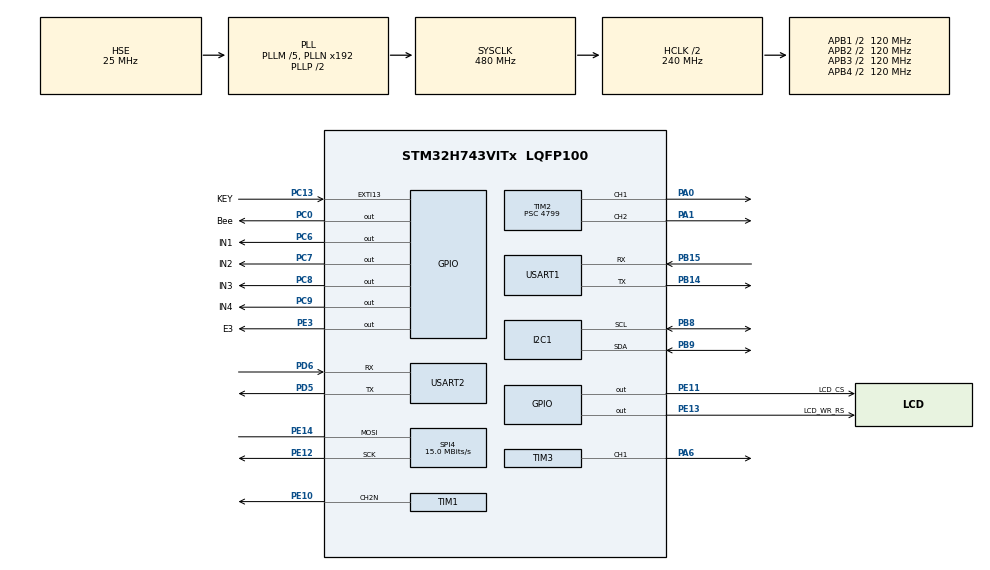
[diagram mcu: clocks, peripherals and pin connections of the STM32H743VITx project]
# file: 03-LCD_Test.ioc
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Dma.Request0=USART1_TX
Dma.Request1=USART1_RX
Dma.USART1_RX.1.Direction=DMA_PERIPH_TO_MEMORY
Dma.USART1_RX.1.EventEnable=DISABLE
Dma.USART1_RX.1.FIFOMode=DMA_FIFOMODE_DISABLE
Dma.USART1_RX.1.Instance=DMA1_Stream1
Dma.USART1_RX.1.MemDataAlignment=DMA_MDATAALIGN_BYTE
Dma.USART1_RX.1.MemInc=DMA_MINC_ENABLE
Dma.USART1_RX.1.Mode=DMA_NORMAL
Dma.USART1_RX.1.PeriphDataAlignment=DMA_PDATAALIGN_BYTE
Dma.USART1_RX.1.PeriphInc=DMA_PINC_DISABLE
Dma.USART1_RX.1.Polarity=HAL_DMAMUX_REQ_GEN_RISING
Dma.USART1_RX.1.Priority=DMA_PRIORITY_LOW
Dma.USART1_RX.1.RequestNumber=1
Dma.USART1_RX.1.SignalID=NONE
Dma.USART1_RX.1.SyncEnable=DISABLE
Dma.USART1_RX.1.SyncPolarity=HAL_DMAMUX_SYNC_NO_EVENT
Dma.USART1_RX.1.SyncRequestNumber=1
Dma.USART1_RX.1.SyncSignalID=NONE
Dma.USART1_TX.0.Direction=DMA_MEMORY_TO_PERIPH
Dma.USART1_TX.0.EventEnable=DISABLE
Dma.USART1_TX.0.FIFOMode=DMA_FIFOMODE_DISABLE
Dma.USART1_TX.0.Instance=DMA1_Stream0
Dma.USART1_TX.0.MemDataAlignment=DMA_MDATAALIGN_BYTE
Dma.USART1_TX.0.MemInc=DMA_MINC_ENABLE
Dma.USART1_TX.0.Mode=DMA_NORMAL
Dma.USART1_TX.0.PeriphDataAlignment=DMA_PDATAALIGN_BYTE
Dma.USART1_TX.0.PeriphInc=DMA_PINC_DISABLE
Dma.USART1_TX.0.Polarity=HAL_DMAMUX_REQ_GEN_RISING
Dma.USART1_TX.0.Priority=DMA_PRIORITY_LOW
Dma.USART1_TX.0.RequestNumber=1
Dma.USART1_TX.0.SignalID=NONE
Dma.USART1_TX.0.SyncEnable=DISABLE
Dma.USART1_TX.0.SyncPolarity=HAL_DMAMUX_SYNC_NO_EVENT
Dma.USART1_TX.0.SyncRequestNumber=1
Dma.USART1_TX.0.SyncSignalID=NONE
I2C1.Timing=0x307075B1
Mcu.Family=STM32H7
Mcu.Name=STM32H743VITx
Mcu.Package=LQFP100
NVIC.DMA1_Stream0_IRQn=true\:0\:0\:false\:false\:true\:false\:true
NVIC.DMA1_Stream1_IRQn=true\:0\:0\:false\:false\:true\:false\:true
NVIC.EXTI15_10_IRQn=true\:0\:0\:false\:false\:true\:true\:true
NVIC.PriorityGroup=NVIC_PRIORITYGROUP_4
NVIC.TIM6_DAC_IRQn=true\:0\:0\:false\:false\:true\:true\:true
NVIC.USART2_IRQn=true\:0\:0\:false\:false\:true\:true\:true
PA0.Signal=S_TIM2_CH1
PA1.Signal=S_TIM2_CH2
PA13\ (JTMS/SWDIO).Mode=Serial_Wire
PA13\ (JTMS/SWDIO).Signal=DEBUG_JTMS-SWDIO
PA14\ (JTCK/SWCLK).Mode=Serial_Wire
PA14\ (JTCK/SWCLK).Signal=DEBUG_JTCK-SWCLK
PA6.Signal=S_TIM3_CH1
PB14.Mode=Asynchronous
PB14.Signal=USART1_TX
PB15.Mode=Asynchronous
PB15.Signal=USART1_RX
PB8.GPIO_Speed=GPIO_SPEED_FREQ_VERY_HIGH
PB8.Mode=I2C
PB8.Signal=I2C1_SCL
PB9.GPIO_Speed=GPIO_SPEED_FREQ_VERY_HIGH
PB9.Mode=I2C
PB9.Signal=I2C1_SDA
PC0.GPIO_Label=Bee
PC0.PinState=GPIO_PIN_SET
PC0.Signal=GPIO_Output
PC13.GPIO_Label=KEY
PC13.GPIO_ModeDefaultEXTI=GPIO_MODE_IT_FALLING
PC13.GPIO_PuPd=GPIO_NOPULL
PC13.Signal=GPXTI13
PC14-OSC32_IN\ (OSC32_IN).Mode=LSE-External-Oscillator
PC14-OSC32_IN\ (OSC32_IN).Signal=RCC_OSC32_IN
PC15-OSC32_OUT\ (OSC32_OUT).Mode=LSE-External-Oscillator
PC15-OSC32_OUT\ (OSC32_OUT).Signal=RCC_OSC32_OUT
PC6.GPIO_Label=IN1
PC6.Signal=GPIO_Output
PC7.GPIO_Label=IN2
PC7.Signal=GPIO_Output
PC8.GPIO_Label=IN3
PC8.Signal=GPIO_Output
PC9.GPIO_Label=IN4
PC9.Signal=GPIO_Output
PD5.Mode=Asynchronous
PD5.Signal=USART2_TX
PD6.Mode=Asynchronous
PD6.Signal=USART2_RX
PE10.Mode=PWM Generation2 CH2N
PE10.Signal=TIM1_CH2N
PE11.GPIO_Label=LCD_CS
PE11.GPIO_Speed=GPIO_SPEED_FREQ_VERY_HIGH
PE11.PinState=GPIO_PIN_SET
PE11.Signal=GPIO_Output
PE12.GPIO_Speed=GPIO_SPEED_FREQ_HIGH
PE12.Mode=Simplex_Bidirectional_Master
PE12.Signal=SPI4_SCK
PE13.GPIO_Label=LCD_WR_RS
PE13.GPIO_Speed=GPIO_SPEED_FREQ_VERY_HIGH
PE13.PinState=GPIO_PIN_SET
PE13.Signal=GPIO_Output
PE14.GPIO_Speed=GPIO_SPEED_FREQ_HIGH
PE14.Mode=Simplex_Bidirectional_Master
PE14.Signal=SPI4_MOSI
PE3.GPIO_Label=E3
PE3.Signal=GPIO_Output
PH0-OSC_IN\ (PH0).Mode=HSE-External-Oscillator
PH0-OSC_IN\ (PH0).Signal=RCC_OSC_IN
PH1-OSC_OUT\ (PH1).Mode=HSE-External-Oscillator
PH1-OSC_OUT\ (PH1).Signal=RCC_OSC_OUT
ProjectManager.HeapSize=0x200
ProjectManager.StackSize=0x400
ProjectManager.TargetToolchain=MDK-ARM V5.27
RCC.ADCFreq_Value=83333333.33333333
RCC.APB1Freq_Value=120000000
RCC.APB2Freq_Value=120000000
RCC.APB3Freq_Value=120000000
RCC.APB4Freq_Value=120000000
RCC.CortexFreq_Value=480000000
RCC.D1PPRE=RCC_APB3_DIV2
RCC.D2PPRE1=RCC_APB1_DIV2
RCC.D2PPRE2=RCC_APB2_DIV2
RCC.D3PPRE=RCC_APB4_DIV2
RCC.DIVM1=5
RCC.DIVM2=6
RCC.DIVN1=192
RCC.DIVN2=40
RCC.DIVQ2=1
RCC.HCLKFreq_Value=240000000
RCC.HPRE=RCC_HCLK_DIV2
RCC.HSE_VALUE=25000000
RCC.PLLFRACN=0
RCC.PLLSourceVirtual=RCC_PLLSOURCE_HSE
RCC.RTCClockSelection=RCC_RTCCLKSOURCE_LSE
RCC.SYSCLKFreq_VALUE=480000000
RCC.SYSCLKSource=RCC_SYSCLKSOURCE_PLLCLK
RCC.USBFreq_Value=480000000
RTC.Hours=12
RTC.Month=RTC_MONTH_JUNE
RTC.Year=20
SH.S_TIM2_CH1.0=TIM2_CH1,PWM Generation1 CH1
SH.S_TIM2_CH2.0=TIM2_CH2,PWM Generation2 CH2
SH.S_TIM3_CH1.0=TIM3_CH1,PWM Generation1 CH1
SPI4.BaudRatePrescaler=SPI_BAUDRATEPRESCALER_8
SPI4.CalculateBaudRate=15.0 MBits/s
SPI4.DataSize=SPI_DATASIZE_8BIT
SPI4.Direction=SPI_DIRECTION_1LINE
SPI4.Mode=SPI_MODE_MASTER
SPI4.VirtualType=VM_MASTER
TIM1.Channel-PWM\ Generation2\ CH2N=TIM_CHANNEL_2
TIM1.OCNPolarity_2=TIM_OCNPOLARITY_LOW
TIM1.Period=1000-1
TIM1.Prescaler=12-1
TIM2.AutoReloadPreload=TIM_AUTORELOAD_PRELOAD_ENABLE
TIM2.Channel-PWM\ Generation1\ CH1=TIM_CHANNEL_1
TIM2.Channel-PWM\ Generation2\ CH2=TIM_CHANNEL_2
TIM2.Period=499
TIM2.Prescaler=4799
TIM3.Channel-PWM\ Generation1\ CH1=TIM_CHANNEL_1
TIM3.Period=249
TIM3.Prescaler=4799
TIM6.Period=10000
TIM6.Prescaler=4799
USART1.VirtualMode-Asynchronous=VM_ASYNC
USART2.VirtualMode-Asynchronous=VM_ASYNC
VP_RTC_VS_RTC_Activate.Mode=RTC_Enabled
VP_RTC_VS_RTC_Calendar.Mode=RTC_Calendar
VP_TIM2_VS_ClockSourceINT.Mode=Internal
VP_TIM3_VS_ClockSourceINT.Mode=Internal
VP_TIM6_VS_ClockSourceINT.Mode=Enable_Timer
board=custom

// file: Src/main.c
/* USER CODE BEGIN Header */
/**
  ******************************************************************************
  * @file           : main.c
  * @brief          : Main program body
  ******************************************************************************
  * @attention
  *
  * <h2><center>&copy; Copyright (c) 2020 STMicroelectronics.
  * All rights reserved.</center></h2>
  *
  * This software component is licensed by ST under BSD 3-Clause license,
  * the "License"; You may not use this file except in compliance with the
  * License. You may obtain a copy of the License at:
  *                        opensource.org/licenses/BSD-3-Clause
  *
  ******************************************************************************
  */
/* USER CODE END Header */
#include "main.h"
#include "dma.h"
#include "i2c.h"
#include "rtc.h"
#include "spi.h"
#include "tim.h"
#include "usart.h"
#include "gpio.h"

/* USER CODE BEGIN Includes */
#include "lcd.h"
#include "mpu6050.h"
#include "control.h"
#include "stdlib.h"
#include "stdio.h"
#include "string.h"
/* USER CODE END Includes */

/* USER CODE BEGIN PTD */

//****串口变量***
extern volatile uint8_t RXbuf[];
volatile  uint8_t TXbuf[200];	//发送缓存
volatile  uint8_t recv_end_flag=0;   //接收完成标记位
volatile uint16_t UART_RX_STA = 0;     // 第15bit表示一帧数据接收完成，第14~0位表示接收到的数据量
volatile uint8_t rx_len=0;    //接收到的数据长度
volatile uint16_t BUFF_SIZE = 200; //接收长度
extern uint8_t usart_num;
//********
int Cama_X =0;	  		// 全局变量，相机X轴
int Cama_Y =0;	  		// 全局变量，相机Y轴
static int Target_X = 300;	// 全局变量，目标X轴
static int Target_Y = 300;	// 全局变量，目标Y轴
static uint8_t Motor = 0;
static uint16_t Xunlu = 1;
uint8_t Mode_Set = 0 ;

static uint8_t Mode = 0;
static uint8_t text[20];

static short Gyro[3];

int ab=0;
static volatile uint8_t aRxBuffer[6];//aTxBuffer[30]; //串口DMA缓存
static uint8_t lcdbuff[20]; //UART字符
static char uart1_buff[20]; //UART字符
extern int Pwm_add1 ,Pwm1 ,Pwm_last1 ;                    // PWM增量，PWM输出占空比
extern int Pwm_add2 ,Pwm2 ,Pwm_last2 ;                    // PWM增量，PWM输出占空比
/* USER CODE END PTD */

void SystemClock_Config(void);

/* USER CODE BEGIN 0 */
static void MPU_Config(void)
{
  MPU_Region_InitTypeDef MPU_InitStruct = {0};

  /* Disables the MPU */
  HAL_MPU_Disable();

	/* Configure the MPU attributes for the QSPI 256MB without instruction access */
  MPU_InitStruct.Enable           = MPU_REGION_ENABLE;
  MPU_InitStruct.Number           = MPU_REGION_NUMBER0;
  MPU_InitStruct.BaseAddress      = QSPI_BASE;
  MPU_InitStruct.Size             = MPU_REGION_SIZE_256MB;
  MPU_InitStruct.AccessPermission = MPU_REGION_NO_ACCESS;
  MPU_InitStruct.IsBufferable     = MPU_ACCESS_NOT_BUFFERABLE;
  MPU_InitStruct.IsCacheable      = MPU_ACCESS_NOT_CACHEABLE;
  MPU_InitStruct.IsShareable      = MPU_ACCESS_NOT_SHAREABLE;
  MPU_InitStruct.DisableExec      = MPU_INSTRUCTION_ACCESS_DISABLE;
  MPU_InitStruct.TypeExtField     = MPU_TEX_LEVEL1;
  MPU_InitStruct.SubRegionDisable = 0x00;
  HAL_MPU_ConfigRegion(&MPU_InitStruct);

  /* Configure the MPU attributes for the QSPI 8MB (QSPI Flash Size) to Cacheable WT */
  MPU_InitStruct.Enable           = MPU_REGION_ENABLE;
  MPU_InitStruct.Number           = MPU_REGION_NUMBER1;
  MPU_InitStruct.BaseAddress      = QSPI_BASE;
  MPU_InitStruct.Size             = MPU_REGION_SIZE_8MB;
  MPU_InitStruct.AccessPermission = MPU_REGION_PRIV_RO;
  MPU_InitStruct.IsBufferable     = MPU_ACCESS_BUFFERABLE;
  MPU_InitStruct.IsCacheable      = MPU_ACCESS_CACHEABLE;
  MPU_InitStruct.IsShareable      = MPU_ACCESS_NOT_SHAREABLE;
  MPU_InitStruct.DisableExec      = MPU_INSTRUCTION_ACCESS_ENABLE;
  MPU_InitStruct.TypeExtField     = MPU_TEX_LEVEL1;
  MPU_InitStruct.SubRegionDisable = 0x00;
  HAL_MPU_ConfigRegion(&MPU_InitStruct);

  /* Enables the MPU */
  HAL_MPU_Enable(MPU_PRIVILEGED_DEFAULT);
}

static void CPU_CACHE_Enable(void)
{
  /* Enable I-Cache */
  SCB_EnableICache();

  /* Enable D-Cache */
  SCB_EnableDCache();
}

static void LED_Blink(uint32_t Hdelay,uint32_t Ldelay)
{
	HAL_GPIO_WritePin(E3_GPIO_Port,E3_Pin,GPIO_PIN_SET);
	HAL_Delay(Hdelay - 1);
	HAL_GPIO_WritePin(E3_GPIO_Port,E3_Pin,GPIO_PIN_RESET);
	HAL_Delay(Ldelay-1);
}

/**
  * @brief  Get the current time and date.
  * @param
  * @retval None
  */
static void RTC_CalendarShow(RTC_DateTypeDef *sdatestructureget,RTC_TimeTypeDef *stimestructureget)
{
  /* 必须同时获取时间和日期 不然会导致下次RTC不能读取 */
  /* Both time and date must be obtained or RTC cannot be read next time */
  /* Get the RTC current Time */
  HAL_RTC_GetTime(&hrtc, stimestructureget, RTC_FORMAT_BIN);
  /* Get the RTC current Date */
  HAL_RTC_GetDate(&hrtc, sdatestructureget, RTC_FORMAT_BIN);
}

/* USER CODE END 0 */

int main(void)
{
  /* USER CODE BEGIN 1 */

  #ifdef W25Qxx
    SCB->VTOR = QSPI_BASE;
  #endif
  MPU_Config();
  CPU_CACHE_Enable();

	MotorOutput1 = 300;
	MotorOutput2 = 300;
	static int i =0;
  /* USER CODE END 1 */

  /* MCU Configuration--------------------------------------------------------*/

  /* Reset of all peripherals, Initializes the Flash interface and the Systick. */
  HAL_Init();

  /* Configure the system clock */
  SystemClock_Config();

  /* Initialize all configured peripherals */
  MX_GPIO_Init();
  MX_DMA_Init();
  MX_RTC_Init();
  MX_SPI4_Init();
  MX_TIM1_Init();
  MX_TIM2_Init();
  MX_TIM6_Init();
  MX_USART2_UART_Init();
  MX_USART1_UART_Init();
  MX_TIM3_Init();
  MX_I2C1_Init();
  /* USER CODE BEGIN 2 */
	LCD_Test();
  	__HAL_UART_CLEAR_IDLEFLAG(&huart2);
	HAL_UART_Receive_IT(&huart2, (uint8_t *)RXbuf, 1);

	sprintf((char *)&text,"TI_Ban");
	LCD_ShowString(4, 6, 160, 14, 14, text);

  /* USER CODE END 2 */

  /* Infinite loop */
  /* USER CODE BEGIN WHILE */
	__HAL_TIM_SetCompare(&htim2,TIM_CHANNEL_1,170);//调试用
	__HAL_TIM_SetCompare(&htim2,TIM_CHANNEL_2,170);//调试用
	__HAL_TIM_SetCompare(&htim3,TIM_CHANNEL_1,75);//调试用
	HAL_TIM_PWM_Start(&htim2,TIM_CHANNEL_1);
	HAL_TIM_PWM_Start(&htim2,TIM_CHANNEL_2);
	 	//MPU6050初始化
	MPU6050_Init();
//	HAL_Delay(500);

  while (1)
  {

	MPU6050ReadGyro(Gyro);
	printf("SPEED:%8d%8d%8d",Gyro[0],Gyro[1],Gyro[2]);
	HAL_Delay(500);
    /* USER CODE END WHILE */

  }
}

void SystemClock_Config(void)
{
  RCC_OscInitTypeDef RCC_OscInitStruct = {0};
  RCC_ClkInitTypeDef RCC_ClkInitStruct = {0};

  /** Supply configuration update enable
  */
  HAL_PWREx_ConfigSupply(PWR_LDO_SUPPLY);
  /** Configure the main internal regulator output voltage
  */
  __HAL_PWR_VOLTAGESCALING_CONFIG(PWR_REGULATOR_VOLTAGE_SCALE0);

  while(!__HAL_PWR_GET_FLAG(PWR_FLAG_VOSRDY)) {}
  /** Configure LSE Drive Capability
  */
  HAL_PWR_EnableBkUpAccess();
  __HAL_RCC_LSEDRIVE_CONFIG(RCC_LSEDRIVE_LOW);
  /** Initializes the RCC Oscillators according to the specified parameters
  * in the RCC_OscInitTypeDef structure.
  */
  RCC_OscInitStruct.OscillatorType = RCC_OSCILLATORTYPE_HSE|RCC_OSCILLATORTYPE_LSE;
  RCC_OscInitStruct.HSEState = RCC_HSE_ON;
  RCC_OscInitStruct.LSEState = RCC_LSE_ON;
  RCC_OscInitStruct.PLL.PLLState = RCC_PLL_ON;
  RCC_OscInitStruct.PLL.PLLSource = RCC_PLLSOURCE_HSE;
  RCC_OscInitStruct.PLL.PLLM = 5;
  RCC_OscInitStruct.PLL.PLLN = 192;
  RCC_OscInitStruct.PLL.PLLP = 2;
  RCC_OscInitStruct.PLL.PLLQ = 2;
  RCC_OscInitStruct.PLL.PLLR = 2;
  RCC_OscInitStruct.PLL.PLLRGE = RCC_PLL1VCIRANGE_2;
  RCC_OscInitStruct.PLL.PLLVCOSEL = RCC_PLL1VCOWIDE;
  RCC_OscInitStruct.PLL.PLLFRACN = 0;
  if (HAL_RCC_OscConfig(&RCC_OscInitStruct) != HAL_OK)
  {
    Error_Handler();
  }
  /** Initializes the CPU, AHB and APB buses clocks
  */
  RCC_ClkInitStruct.ClockType = RCC_CLOCKTYPE_HCLK|RCC_CLOCKTYPE_SYSCLK
                              |RCC_CLOCKTYPE_PCLK1|RCC_CLOCKTYPE_PCLK2
                              |RCC_CLOCKTYPE_D3PCLK1|RCC_CLOCKTYPE_D1PCLK1;
  RCC_ClkInitStruct.SYSCLKSource = RCC_SYSCLKSOURCE_PLLCLK;
  RCC_ClkInitStruct.SYSCLKDivider = RCC_SYSCLK_DIV1;
  RCC_ClkInitStruct.AHBCLKDivider = RCC_HCLK_DIV2;
  RCC_ClkInitStruct.APB3CLKDivider = RCC_APB3_DIV2;
  RCC_ClkInitStruct.APB1CLKDivider = RCC_APB1_DIV2;
  RCC_ClkInitStruct.APB2CLKDivider = RCC_APB2_DIV2;
  RCC_ClkInitStruct.APB4CLKDivider = RCC_APB4_DIV2;

  if (HAL_RCC_ClockConfig(&RCC_ClkInitStruct, FLASH_LATENCY_4) != HAL_OK)
  {
    Error_Handler();
  }
}

/* USER CODE BEGIN 4 */
void HAL_UART_RxCpltCallback(UART_HandleTypeDef *huart)
{
	//HAL_GPIO_TogglePin(E3_GPIO_Port,E3_Pin);
	if(huart ==(&huart2))
	{
		//HAL_UART_Transmit(&huart1,(uint8_t *)RXbuf,8,100);
		if(recv_end_flag == 0){
			recv_end_flag = 1;
		}
	}

}
void HAL_TIM_PeriodElapsedCallback(TIM_HandleTypeDef *htim)
{

    if (htim == (&htim6))
    {

    }

}

/* USER CODE END 4 */

void Error_Handler(void)
{
  /* USER CODE BEGIN Error_Handler_Debug */
  /* User can add his own implementation to report the HAL error return state */
  LED_Blink(500,500);
  /* USER CODE END Error_Handler_Debug */
}

/************************ (C) COPYRIGHT STMicroelectronics *****END OF FILE****/
